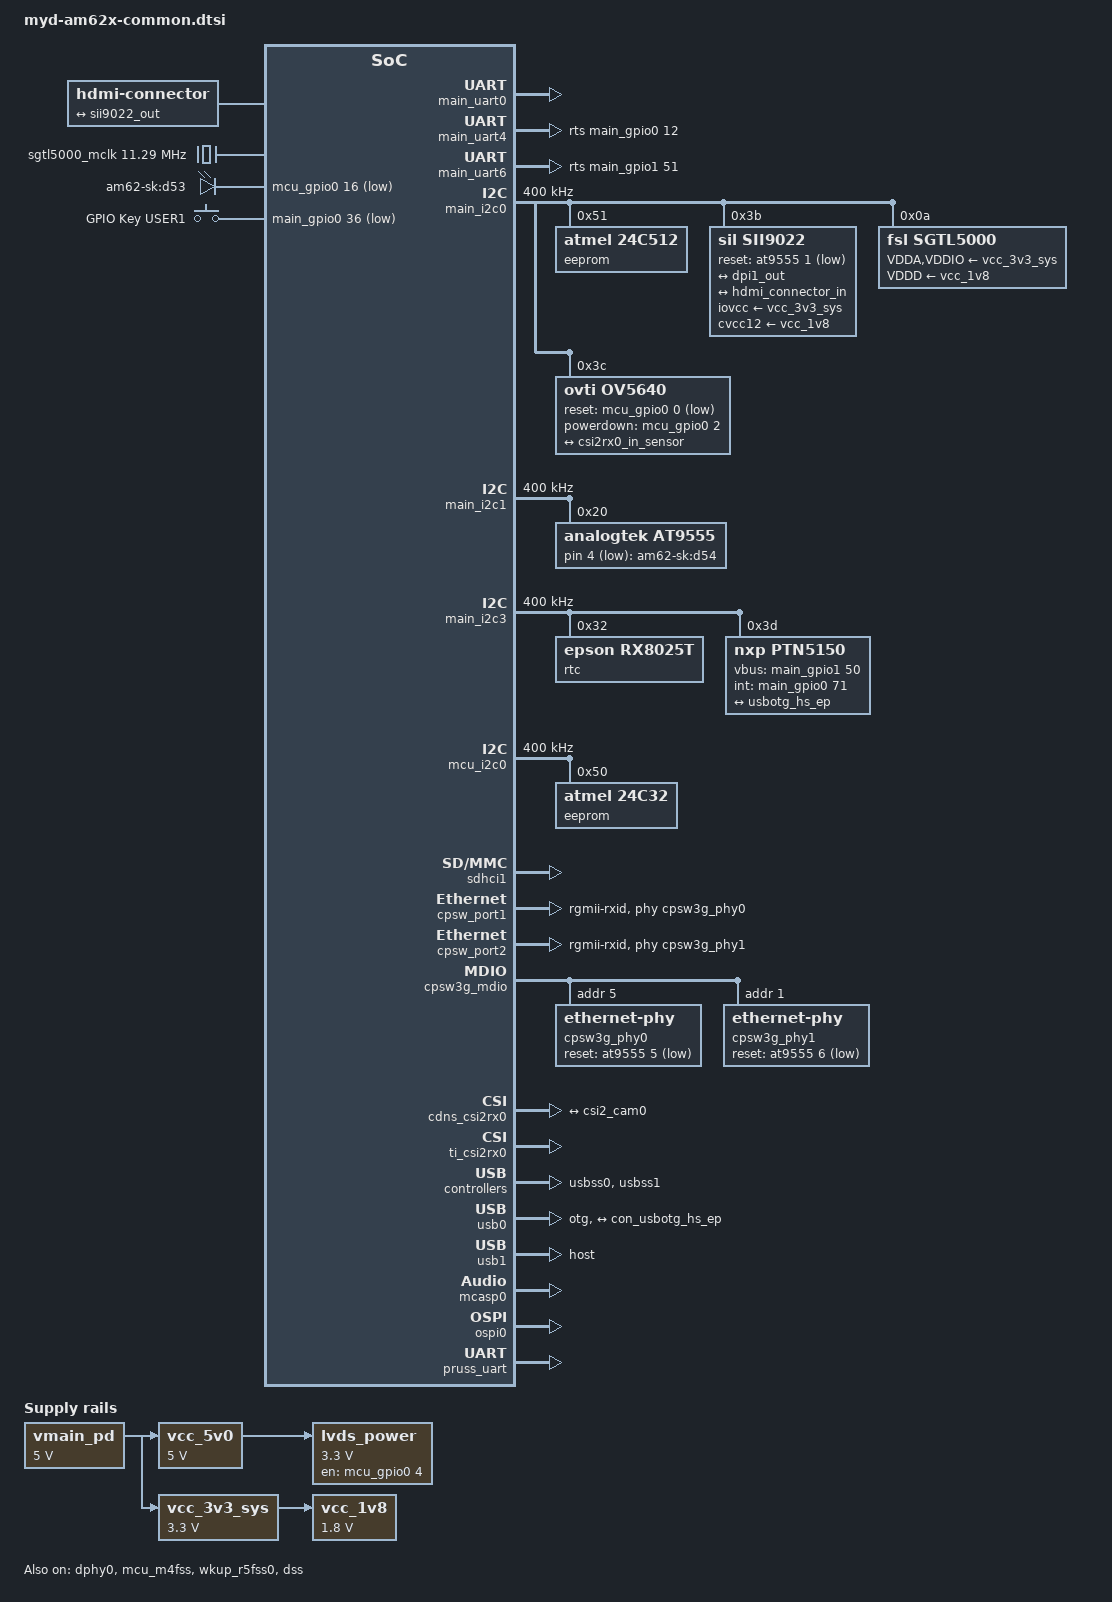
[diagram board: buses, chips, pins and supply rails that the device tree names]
// SPDX-License-Identifier: GPL-2.0-only OR MIT
/*
 * Common dtsi for AM62x SK and derivatives
 *
 * Copyright (C) 2021-2024 Texas Instruments Incorporated - https://www.ti.com/
 */

#include <dt-bindings/leds/common.h>
#include <dt-bindings/gpio/gpio.h>
#include <dt-bindings/net/ti-dp83867.h>
#include <dt-bindings/input/input.h>

/ {
	aliases {
		serial0 = &wkup_uart0;
		serial1 = &mcu_uart0;
		serial2 = &main_uart0;
		serial3 = &main_uart4;
		serial4 = &main_uart6;
		mmc0 = &sdhci0;
		mmc1 = &sdhci1;
		mmc2 = &sdhci2;
		spi0 = &ospi0;
		ethernet0 = &cpsw_port1;
		ethernet1 = &cpsw_port2;
		usb0 = &usb0;
		usb1 = &usb1;
	};

	chosen {
		#address-cells = <2>;
		#size-cells = <2>;
		ranges;

		stdout-path = "serial2:115200n8";

		framebuffer0: framebuffer@0 {
			compatible = "simple-framebuffer";
			power-domains = <&k3_pds 186 TI_SCI_PD_EXCLUSIVE>;
			clocks = <&k3_clks 186 6>,
				 <&dss_vp1_clk>,
				 <&k3_clks 186 2>;
			display = <&dss>;
			status = "disabled";
		};
	};

	reserved-memory {
		#address-cells = <2>;
		#size-cells = <2>;
		ranges;

		ramoops@9c700000 {
			compatible = "ramoops";
			reg = <0x00 0x9c700000 0x00 0x00100000>;
			record-size = <0x8000>;
			console-size = <0x8000>;
			ftrace-size = <0x00>;
			pmsg-size = <0x8000>;
		};

		/* global cma region */
		linux,cma {
			compatible = "shared-dma-pool";
			reusable;
			size = <0x00 0x8000000>;
			linux,cma-default;
		};

		rtos_ipc_memory_region: ipc-memories@9c800000 {
			compatible = "shared-dma-pool";
			reg = <0x00 0x9c800000 0x00 0x00300000>;
			no-map;
		};

		mcu_m4fss_dma_memory_region: m4f-dma-memory@9cb00000 {
			compatible = "shared-dma-pool";
			reg = <0x00 0x9cb00000 0x00 0x100000>;
			no-map;
		};

		mcu_m4fss_memory_region: m4f-memory@9cc00000 {
			compatible = "shared-dma-pool";
			reg = <0x00 0x9cc00000 0x00 0xe00000>;
			no-map;
		};

		wkup_r5fss0_core0_dma_memory_region: r5f-dma-memory@9da00000 {
			compatible = "shared-dma-pool";
			reg = <0x00 0x9da00000 0x00 0x100000>;
			no-map;
		};

		wkup_r5fss0_core0_memory_region: r5f-memory@9db00000 {
			compatible = "shared-dma-pool";
			reg = <0x00 0x9db00000 0x00 0xc00000>;
			no-map;
		};

		secure_tfa_ddr: tfa@9e780000 {
			reg = <0x00 0x9e780000 0x00 0x80000>;
			alignment = <0x1000>;
			no-map;
		};

		secure_ddr: optee@9e800000 {
			reg = <0x00 0x9e800000 0x00 0x01800000>; /* for OP-TEE */
			alignment = <0x1000>;
			no-map;
		};

	};
	        lvds_power: regulator-6 {
                compatible = "regulator-fixed";
                regulator-name = "lvds_power";
                regulator-min-microvolt = <3300000>;
                regulator-max-microvolt = <3300000>;
                enable-active-high;
                regulator-always-on;
                regulator-boot-on;
                vin-supply = <&vcc_5v0>;
                pinctrl-names = "default";
                pinctrl-1 = <&mcu_lvds_power_pins_default>;
                gpios = <&mcu_gpio0 4 GPIO_ACTIVE_HIGH>;
        };

	vmain_pd: regulator-0 {
		/* TPS65988 PD CONTROLLER OUTPUT */
		compatible = "regulator-fixed";
		regulator-name = "vmain_pd";
		regulator-min-microvolt = <5000000>;
		regulator-max-microvolt = <5000000>;
		regulator-always-on;
		regulator-boot-on;
	};

	vcc_5v0: regulator-1 {
		/* Output of LM34936 */
		compatible = "regulator-fixed";
		regulator-name = "vcc_5v0";
		regulator-min-microvolt = <5000000>;
		regulator-max-microvolt = <5000000>;
		vin-supply = <&vmain_pd>;
		regulator-always-on;
		regulator-boot-on;
	};

	vcc_3v3_sys: regulator-2 {
		/* output of LM61460-Q1 */
		compatible = "regulator-fixed";
		regulator-name = "vcc_3v3_sys";
		regulator-min-microvolt = <3300000>;
		regulator-max-microvolt = <3300000>;
		vin-supply = <&vmain_pd>;
		regulator-always-on;
		regulator-boot-on;
	};
	 vcc_1v8: regulator-5 {
                compatible = "regulator-fixed";
                regulator-name = "vcc_1v8";
                regulator-min-microvolt = <1800000>;
                regulator-max-microvolt = <1800000>;
                vin-supply = <&vcc_3v3_sys>;
                regulator-always-on;
                regulator-boot-on;
        };
	

	  hdmi: connector {
                compatible = "hdmi-connector";
                label = "hdmi";
                type = "a";
                port {
                        hdmi_connector_in: endpoint {
                                remote-endpoint = <&sii9022_out>;
                        };
                };
        };
	
        sgtl5000_mclk: sgtl5000-mclk {
                compatible = "fixed-clock";
                #clock-cells = <0>;
                clock-frequency = <11289600>;
        };
	
        clk_ov5640_fixed: ov5640-xclk {
                compatible = "fixed-clock";
                #clock-cells = <0>;
                clock-frequency = <24000000>;
        };
	
	codec_audio: sound {
                compatible = "simple-audio-card";
                simple-audio-card,name = "AM62x-SKEVM";
                simple-audio-card,widgets =
                                "Microphone", "Microphone Jack",
                                "Headphone", "Headphone Jack",
                                "Speaker", "Speaker Ext",
                                "Line", "Line In Jack";
                simple-audio-card,routing =
                                "MIC_IN", "Microphone Jack",
                                "Microphone Jack", "Mic Bias",
                                "LINE_IN", "Line In Jack",
                                "Headphone Jack", "HP_OUT",
                                "Speaker Ext", "LINE_OUT";
                simple-audio-card,format = "i2s";
                simple-audio-card,mclk-fs = <256>;
                simple-audio-card,bitclock-master = <&sound_master>;
                simple-audio-card,frame-master = <&sound_master>;
                simple-audio-card,bitclock-inversion;

                simple-audio-card,cpu {
                        sound-dai = <&mcasp0>;
                };

                sound_master: simple-audio-card,codec {
                        sound-dai = <&sgtl5000>;
                        clocks = <&sgtl5000_mclk>;
                };
        };

	leds {
                compatible = "gpio-leds";

                led-user {
                        label = "am62-sk:d54";
                        gpios = <&at9555 4 GPIO_ACTIVE_LOW>;
                        max-brightness = <255>;
                        linux,default-trigger = "heartbeat";
                        function = LED_FUNCTION_HEARTBEAT;
                        default-state = "off";
                };

                led-sys {
                        label = "am62-sk:d53";
                        pinctrl-names = "default";
                        pinctrl-1 = <&mcu_run_led_pins_default>;
                        gpios = <&mcu_gpio0 16 GPIO_ACTIVE_LOW>;
                        linux,default-trigger = "heartbeat";
                        function = LED_FUNCTION_HEARTBEAT;
                        default-state = "on";
                };
        };

        gpio-keys {
                compatible = "gpio-keys";
                autorepeat;
                pinctrl-names = "default";
                pinctrl-0 = <&main_user_key_pins_default>;

                user: user {
                        label = "GPIO Key USER1";
                        linux,code = <BTN_0>;
                        gpios = <&main_gpio0 36 GPIO_ACTIVE_LOW>;
                };
        };

};

&phy_gmii_sel {
	bootph-all;
};

&main_pmx0 {
	 main_ptn5150_vbus_pins_default: main-ptn5150-vbus-pins-default {
                pinctrl-single,pins = <
                        AM62X_IOPAD(0x254, PIN_OUTPUT, 7) /* (C20) USB0_DRVVBUS.GPIO1_50 */
                        AM62X_IOPAD(0x124, PIN_INPUT, 7) /* (A23) MMC2_SDCD.GPIO0_71 */

                >;
        };
        main_uart4_pins_default: main-uart4-pins-default {
                pinctrl-single,pins = <
                        AM62X_IOPAD(0x00b0, PIN_INPUT, 3) /* (K22) GPMC0_CSn2.UART4_RXD */
                        AM62X_IOPAD(0x00b4, PIN_OUTPUT, 3) /* (K24) GPMC0_CSn3.UART4_TXD */
                >;
        };

        main_uart4_rst_pins_default: main-uart4-rst-pins-default {
                pinctrl-single,pins = <
                        AM62X_IOPAD(0x0030, PIN_INPUT, 7) /* (G21) OSPI0_CSn1.GPIO0_12 */
                >;
        };

        main_uart6_pins_default: main-uart6-pins-default {
                pinctrl-single,pins = <
                        AM62X_IOPAD(0x009c, PIN_INPUT, 3) /* (V25) GPMC0_WAIT1.UART6_RXD */
                        AM62X_IOPAD(0x00a0, PIN_OUTPUT, 3) /* (K25) GPMC0_WPn.UART6_TXD */
                >;
        };

        main_uart6_rst_pins_default: main-uart6-rst-pins-default {
                pinctrl-single,pins = <
                        AM62X_IOPAD(0x0258, PIN_INPUT, 7) /* (F18) USB1_DRVVBUS.GPIO1_51 */
                >;
        };
        main_i2c3_pins_default: main-i2c3-pins-default {
                pinctrl-single,pins = <
                        AM62X_IOPAD(0x1d0, PIN_INPUT_PULLUP, 2) /* (A15) UART0_CTSn.I2C3_SCL */
                        AM62X_IOPAD(0x1d4, PIN_INPUT_PULLUP, 2) /* (B15) UART0_RTSn.I2C3_SDA */
                >;
        };
	
        main_user_key_pins_default: main-user-key-pins-default {
                pinctrl-single,pins = <
                        AM62X_IOPAD(0x0094, PIN_INPUT, 7) /* (N20) GPMC0_BE1n.GPIO0_36 */
                >;
        };

	/* First pad number is ALW package and second is AMC package */
	main_uart0_pins_default: main-uart0-default-pins {
		bootph-all;
		pinctrl-single,pins = <
			AM62X_IOPAD(0x1c8, PIN_INPUT, 0) /* (D14/A13) UART0_RXD */
			AM62X_IOPAD(0x1cc, PIN_OUTPUT, 0) /* (E14/E11) UART0_TXD */
		>;
	};

	main_uart1_pins_default: main-uart1-default-pins {
		bootph-pre-ram;
		pinctrl-single,pins = <
			AM62X_IOPAD(0x194, PIN_INPUT, 2) /* (B19/B18) MCASP0_AXR3.UART1_CTSn */
			AM62X_IOPAD(0x198, PIN_OUTPUT, 2) /* (A19/B17) MCASP0_AXR2.UART1_RTSn */
			AM62X_IOPAD(0x1ac, PIN_INPUT, 2) /* (E19/D15) MCASP0_AFSR.UART1_RXD */
			AM62X_IOPAD(0x1b0, PIN_OUTPUT, 2) /* (A20/D16) MCASP0_ACLKR.UART1_TXD */
		>;
	};

	main_i2c0_pins_default: main-i2c0-default-pins {
		pinctrl-single,pins = <
			AM62X_IOPAD(0x1e0, PIN_INPUT_PULLUP, 0) /* (B16/E12) I2C0_SCL */
			AM62X_IOPAD(0x1e4, PIN_INPUT_PULLUP, 0) /* (A16/D14) I2C0_SDA */
		>;
	};

	main_i2c1_pins_default: main-i2c1-default-pins {
		bootph-all;
		pinctrl-single,pins = <
			AM62X_IOPAD(0x1e8, PIN_INPUT_PULLUP, 0) /* (B17/A17) I2C1_SCL */
			AM62X_IOPAD(0x1ec, PIN_INPUT_PULLUP, 0) /* (A17/A16) I2C1_SDA */
		>;
	};


	main_mmc1_pins_default: main-mmc1-default-pins {
		bootph-all;
		pinctrl-single,pins = <
			AM62X_IOPAD(0x23c, PIN_INPUT, 0) /* (A21/C18) MMC1_CMD */
			AM62X_IOPAD(0x234, PIN_INPUT, 0) /* (B22/A20) MMC1_CLK */
			AM62X_IOPAD(0x230, PIN_INPUT, 0) /* (A22/A19) MMC1_DAT0 */
			AM62X_IOPAD(0x22c, PIN_INPUT, 0) /* (B21/B19) MMC1_DAT1 */
			AM62X_IOPAD(0x228, PIN_INPUT, 0) /* (C21/B20) MMC1_DAT2 */
			AM62X_IOPAD(0x224, PIN_INPUT, 0) /* (D22/C19) MMC1_DAT3 */
			AM62X_IOPAD(0x240, PIN_INPUT, 0) /* (D17/C15) MMC1_SDCD */
		>;
	};

	usr_led_pins_default: usr-led-default-pins {
		pinctrl-single,pins = <
			AM62X_IOPAD(0x244, PIN_OUTPUT, 7) /* (C17/B15) MMC1_SDWP.GPIO1_49 */
		>;
	};

	main_mdio1_pins_default: main-mdio1-default-pins {
		pinctrl-single,pins = <
			AM62X_IOPAD(0x160, PIN_OUTPUT, 0) /* (AD24/V17) MDIO0_MDC */
			AM62X_IOPAD(0x15c, PIN_INPUT, 0) /* (AB22/U16) MDIO0_MDIO */
		>;
	};

	main_rgmii1_pins_default: main-rgmii1-default-pins {
		bootph-all;
		pinctrl-single,pins = <
			AM62X_IOPAD(0x14c, PIN_INPUT, 0) /* (AB17/W15) RGMII1_RD0 */
			AM62X_IOPAD(0x150, PIN_INPUT, 0) /* (AC17/Y16) RGMII1_RD1 */
			AM62X_IOPAD(0x154, PIN_INPUT, 0) /* (AB16/AA17) RGMII1_RD2 */
			AM62X_IOPAD(0x158, PIN_INPUT, 0) /* (AA15/Y15) RGMII1_RD3 */
			AM62X_IOPAD(0x148, PIN_INPUT, 0) /* (AD17/AA16) RGMII1_RXC */
			AM62X_IOPAD(0x144, PIN_INPUT, 0) /* (AE17/W14) RGMII1_RX_CTL */
			AM62X_IOPAD(0x134, PIN_OUTPUT, 0) /* (AE20/U14) RGMII1_TD0 */
			AM62X_IOPAD(0x138, PIN_OUTPUT, 0) /* (AD20/AA19) RGMII1_TD1 */
			AM62X_IOPAD(0x13c, PIN_OUTPUT, 0) /* (AE18/Y17) RGMII1_TD2 */
			AM62X_IOPAD(0x140, PIN_OUTPUT, 0) /* (AD18/AA18) RGMII1_TD3 */
			AM62X_IOPAD(0x130, PIN_OUTPUT, 0) /* (AE19/W16) RGMII1_TXC */
			AM62X_IOPAD(0x12c, PIN_OUTPUT, 0) /* (AD19/V15) RGMII1_TX_CTL */
		>;
	};
        main_mcasp0_pins_default: main-mcasp0-pins-default {
                pinctrl-single,pins = <
                        AM62X_IOPAD(0x01a4, PIN_INPUT, 0) /* (B20) MCASP0_ACLKX.MCASP0_ACLKX */
                        AM62X_IOPAD(0x01a8, PIN_INPUT, 0) /* (D20) MCASP0_AFSX.MCASP0_AFSX */
                        AM62X_IOPAD(0x01a0, PIN_OUTPUT, 0) /* (E18) MCASP0_AXR0.MCASP0_AXR0 */
                        AM62X_IOPAD(0x019c, PIN_INPUT, 0) /* (B18) MCASP0_AXR1.MCASP0_AXR1 */   
                >;
        };

	main_mcasp1_pins_default: main-mcasp1-default-pins {
		pinctrl-single,pins = <
			AM62X_IOPAD(0x090, PIN_INPUT, 2) /* (M24/K17) GPMC0_BE0N_CLE.MCASP1_ACLKX */
			AM62X_IOPAD(0x098, PIN_INPUT, 2) /* (U23/P21) GPMC0_WAIT0.MCASP1_AFSX */
			AM62X_IOPAD(0x08c, PIN_OUTPUT, 2) /* (L25/J17) GPMC0_WEN.MCASP1_AXR0 */
			AM62X_IOPAD(0x084, PIN_INPUT, 2) /* (L23/K20) GPMC0_ADVN_ALE.MCASP1_AXR2 */
		>;
	};

	main_dss0_pins_default: main-dss0-default-pins {
		pinctrl-single,pins = <
			AM62X_IOPAD(0x100, PIN_OUTPUT, 0) /* (AC25) VOUT0_VSYNC */
			AM62X_IOPAD(0x0f8, PIN_OUTPUT, 0) /* (AB24) VOUT0_HSYNC */
			AM62X_IOPAD(0x104, PIN_OUTPUT, 0) /* (AC24) VOUT0_PCLK */
			AM62X_IOPAD(0x0fc, PIN_OUTPUT, 0) /* (Y20) VOUT0_DE */
			AM62X_IOPAD(0x0b8, PIN_OUTPUT, 0) /* (U22) VOUT0_DATA0 */
			AM62X_IOPAD(0x0bc, PIN_OUTPUT, 0) /* (V24) VOUT0_DATA1 */
			AM62X_IOPAD(0x0c0, PIN_OUTPUT, 0) /* (W25) VOUT0_DATA2 */
			AM62X_IOPAD(0x0c4, PIN_OUTPUT, 0) /* (W24) VOUT0_DATA3 */
			AM62X_IOPAD(0x0c8, PIN_OUTPUT, 0) /* (Y25) VOUT0_DATA4 */
			AM62X_IOPAD(0x0cc, PIN_OUTPUT, 0) /* (Y24) VOUT0_DATA5 */
			AM62X_IOPAD(0x0d0, PIN_OUTPUT, 0) /* (Y23) VOUT0_DATA6 */
			AM62X_IOPAD(0x0d4, PIN_OUTPUT, 0) /* (AA25) VOUT0_DATA7 */
			AM62X_IOPAD(0x0d8, PIN_OUTPUT, 0) /* (V21) VOUT0_DATA8 */
			AM62X_IOPAD(0x0dc, PIN_OUTPUT, 0) /* (W21) VOUT0_DATA9 */
			AM62X_IOPAD(0x0e0, PIN_OUTPUT, 0) /* (V20) VOUT0_DATA10 */
			AM62X_IOPAD(0x0e4, PIN_OUTPUT, 0) /* (AA23) VOUT0_DATA11 */
			AM62X_IOPAD(0x0e8, PIN_OUTPUT, 0) /* (AB25) VOUT0_DATA12 */
			AM62X_IOPAD(0x0ec, PIN_OUTPUT, 0) /* (AA24) VOUT0_DATA13 */
			AM62X_IOPAD(0x0f0, PIN_OUTPUT, 0) /* (Y22) VOUT0_DATA14 */
			AM62X_IOPAD(0x0f4, PIN_OUTPUT, 0) /* (AA21) VOUT0_DATA15 */
			AM62X_IOPAD(0x05c, PIN_OUTPUT, 1) /* (R24) GPMC0_AD8.VOUT0_DATA16 */
			AM62X_IOPAD(0x060, PIN_OUTPUT, 1) /* (R25) GPMC0_AD9.VOUT0_DATA17 */
			AM62X_IOPAD(0x064, PIN_OUTPUT, 1) /* (T25) GPMC0_AD10.VOUT0_DATA18 */
			AM62X_IOPAD(0x068, PIN_OUTPUT, 1) /* (R21) GPMC0_AD11.VOUT0_DATA19 */
			AM62X_IOPAD(0x06c, PIN_OUTPUT, 1) /* (T22) GPMC0_AD12.VOUT0_DATA20 */
			AM62X_IOPAD(0x070, PIN_OUTPUT, 1) /* (T24) GPMC0_AD13.VOUT0_DATA21 */
			AM62X_IOPAD(0x074, PIN_OUTPUT, 1) /* (U25) GPMC0_AD14.VOUT0_DATA22 */
			AM62X_IOPAD(0x078, PIN_OUTPUT, 1) /* (U24) GPMC0_AD15.VOUT0_DATA23 */
		>;
	};

	ospi0_pins_default: ospi0-default-pins {
		bootph-all;
		pinctrl-single,pins = <
			AM62X_IOPAD(0x000, PIN_OUTPUT, 0) /* (H24/G19) OSPI0_CLK */
			AM62X_IOPAD(0x02c, PIN_OUTPUT, 0) /* (F23/F19) OSPI0_CSn0 */
			AM62X_IOPAD(0x00c, PIN_INPUT, 0) /* (E25/F18) OSPI0_D0 */
			AM62X_IOPAD(0x010, PIN_INPUT, 0) /* (G24/G17) OSPI0_D1 */
			AM62X_IOPAD(0x014, PIN_INPUT, 0) /* (F25/F21) OSPI0_D2 */
			AM62X_IOPAD(0x018, PIN_INPUT, 0) /* (F24/F20) OSPI0_D3 */
			AM62X_IOPAD(0x01c, PIN_INPUT, 0) /* (J23/G21) OSPI0_D4 */
			AM62X_IOPAD(0x020, PIN_INPUT, 0) /* (J25/H21) OSPI0_D5 */
			AM62X_IOPAD(0x024, PIN_INPUT, 0) /* (H25/G20) OSPI0_D6 */
			AM62X_IOPAD(0x028, PIN_INPUT, 0) /* (J22/J21) OSPI0_D7 */
			AM62X_IOPAD(0x008, PIN_INPUT, 0) /* (J24/H20) OSPI0_DQS */
		>;
	};

	pruss_uart_pins: pruss-uart-pins {
		pinctrl-single,pins = <
			AM62X_IOPAD(0x01d8, PIN_INPUT, 6) /* (C15) MCAN0_TX.PR0_UART0_RXD */
			AM62X_IOPAD(0x01dc, PIN_OUTPUT, 6) /* (E15) MCAN0_RX.PR0_UART0_TXD */
		>;
	};
};

&mcu_pmx0 {
        mcu_lvds_power_pins_default: mcu-lvds-power-pins-default {
                pinctrl-single,pins = <
                        AM62X_MCU_IOPAD(0x0010, PIN_OUTPUT_PULLUP, 7) /* (C9) MCU_SPI0_D1.MCU_GPIO0_4 */
                >;
        };
	 mcu_i2c0_pins_default: mcu-i2c0-pins-default {
                pinctrl-single,pins = <
                        AM62X_MCU_IOPAD(0x0044, PIN_INPUT, 0) /* (A8) MCU_I2C0_SCL */
                        AM62X_MCU_IOPAD(0x0048, PIN_INPUT, 0) /* (D10) MCU_I2C0_SDA */
                >;
        };
	
        mcu_run_led_pins_default: mymcugpio1-pins-default {
                pinctrl-single,pins = <
                        AM62X_MCU_IOPAD(0x0040, PIN_INPUT, 7) /* (D4) MCU_MCAN1_RX.MCU_GPIO0_16 */
                >;
        };	
	wkup_uart0_pins_default: wkup-uart0-default-pins {
		bootph-pre-ram;
		pinctrl-single,pins = <
			AM62X_MCU_IOPAD(0x02c, PIN_INPUT, 0) /* (C6/A7) WKUP_UART0_CTSn */
			AM62X_MCU_IOPAD(0x030, PIN_OUTPUT, 0) /* (A4/B4) WKUP_UART0_RTSn */
			AM62X_MCU_IOPAD(0x024, PIN_INPUT, 0) /* (B4/B5) WKUP_UART0_RXD */
			AM62X_MCU_IOPAD(0x028, PIN_OUTPUT, 0) /* (C5/C6) WKUP_UART0_TXD */
		>;
	};

	mcu_ov5640_gpio_pins_default: mcu-ov5640-gpio-pins-default {
                pinctrl-single,pins = <
                        AM62X_MCU_IOPAD(0x0000, PIN_OUTPUT, 7) /* (E8) MCU_SPI0_CS0.MCU_GPIO0_0  RST */
                        AM62X_MCU_IOPAD(0x0008, PIN_OUTPUT, 7) /* (A7) MCU_SPI0_CLK.MCU_GPIO0_2  PWR */
                >;
        };
};

&cpsw_mac_syscon {
	bootph-all;
};

&wkup_uart0 {
	/* WKUP UART0 is used by DM firmware */
	bootph-pre-ram;
	status = "reserved";
	pinctrl-names = "default";
	pinctrl-0 = <&wkup_uart0_pins_default>;
};

&main_uart0 {
	bootph-all;
	status = "okay";
	pinctrl-names = "default";
	pinctrl-0 = <&main_uart0_pins_default>;
	interrupts-extended = <&gic500 GIC_SPI 178 IRQ_TYPE_LEVEL_HIGH>,
			       <&main_pmx0 0x1c8>; /* (D14) UART0_RXD PADCONFIG114 */
	interrupt-names = "irq", "wakeup";
};

&main_uart1 {
	/* Main UART1 is used by TIFS firmware */
	bootph-pre-ram;
	status = "reserved";
	pinctrl-names = "default";
	pinctrl-0 = <&main_uart1_pins_default>;
};

&main_uart4 {
        pinctrl-names = "default";
        pinctrl-0 = <&main_uart4_pins_default &main_uart4_rst_pins_default>;
  	rts-gpios = <&main_gpio0 12 GPIO_ACTIVE_HIGH>;
        rs485-rx-during-tx;
        rs485-rts-delay = <1 1>;
        linux,rs485-enabled-at-boot-time;
        status = "okay";

};

&main_uart6 {
        pinctrl-names = "default";
        pinctrl-0 = <&main_uart6_pins_default &main_uart6_rst_pins_default>;
        rts-gpios = <&main_gpio1 51 GPIO_ACTIVE_HIGH>;
        rs485-rx-during-tx;
        rs485-rts-delay = <1 1>;
        linux,rs485-enabled-at-boot-time;
        status = "okay";
};

&main_i2c0 {
	status = "okay";
	pinctrl-names = "default";
	pinctrl-0 = <&main_i2c0_pins_default>;
	clock-frequency = <400000>;

	eeprom@51 {
		/* AT24C512C-MAHM-T or M24512-DFMC6TG */
		compatible = "atmel,24c512";
		reg = <0x51>;
	};

	sii9022: sii9022@3b {
                #sound-dai-cells = <0>;
                compatible = "sil,sii9022";
                reg = <0x3b>;
                status = "okay";
                iovcc-supply = <&vcc_3v3_sys>;
                cvcc12-supply = <&vcc_1v8>;

                reset-gpios = <&at9555 1 GPIO_ACTIVE_LOW>;



                sil,i2s-data-lanes = < 0 >;

                ports {
                        #address-cells = <1>;
                        #size-cells = <0>;

                        port@0 {
                                reg = <0>;

                                sii9022_in: endpoint {
                                        remote-endpoint = <&dpi1_out>;
                                };
                        };

                        port@1 {
                                reg = <1>;

                                sii9022_out: endpoint {
                                        remote-endpoint = <&hdmi_connector_in>;
                                };
                        };
                };
        };

	    sgtl5000: audio-codec@a {
                compatible = "fsl,sgtl5000";
                status = "okay";
                reg = <0xa>;
                #sound-dai-cells = <0>;
                clocks = <&sgtl5000_mclk>;
                // micbias-resistor-k-ohms = <2>;
                // micbias-voltage-m-volts = <2250>;
                VDDA-supply = <&vcc_3v3_sys>;
                VDDIO-supply = <&vcc_3v3_sys>;
                VDDD-supply = <&vcc_1v8>;
        };
	ov5640: camera@3c {
                compatible = "ovti,ov5640";
                reg = <0x3c>;
                status = "okay";
                clocks = <&clk_ov5640_fixed>;
                clock-names = "xclk";
                pinctrl-names ="default";
                pinctrl-0=<&mcu_ov5640_gpio_pins_default>;
                reset-gpios = <&mcu_gpio0 0 GPIO_ACTIVE_LOW>;
                powerdown-gpios = <&mcu_gpio0 2 GPIO_ACTIVE_HIGH>;


                port {
                        csi2_cam0: endpoint {
                                remote-endpoint = <&csi2rx0_in_sensor>;
                                clock-lanes = <0>;
                                data-lanes = <1 2>;
                        };
                };
        };

};

&main_i2c1 {
	status = "okay";
	pinctrl-names = "default";
	pinctrl-0 = <&main_i2c1_pins_default>;
	clock-frequency = <400000>;
	at9555: at9555@20 {
                compatible = "analogtek,at9555";
                reg = <0x20>;
                #gpio-cells = <2>;
                gpio_base = <530>;
                interrupt-controller;
                #interrupt-cells = <2>;
                status = "okay";
        };
	
};


&main_i2c2 {
	status = "disabled";
	clock-frequency = <400000>;
};


&main_i2c3 {
        pinctrl-names = "default";
        pinctrl-0 = <&main_i2c3_pins_default>;
        clock-frequency = <400000>;
        status = "okay";
	rtc: rtc@32 {
		compatible = "epson,rx8025t";
		reg = <0x32>;
		tatus = "okay";
    };
	ptn5150: ptn5150@3d {
                compatible = "nxp,ptn5150";
                reg = <0x3d>;
                pinctrl-names = "default";
                pinctrl-0 = <&main_ptn5150_vbus_pins_default>;
                vbus-gpios = <&main_gpio1 50 GPIO_ACTIVE_HIGH>;
                int-gpios = <&main_gpio0 71 IRQ_TYPE_EDGE_FALLING>;
                status = "okay";

                connector {
                        compatible = "usb-c-connector";
                        label = "USB-C";
                        port {
                                con_usbotg_hs_ep: endpoint {
                                        remote-endpoint = <&usbotg_hs_ep>;
                                };
                        };
                };
        };

};

&mcu_i2c0 {
        pinctrl-names = "default";
        pinctrl-0 = <&mcu_i2c0_pins_default>;
        clock-frequency = <400000>;
        status = "okay";

        eeprom: 24c32@50 {
                compatible = "atmel,24c32";
                reg = <0x50>;
                pagesize = <32>;
        };
};

&sdhci1 {
	/* SD/MMC */
	bootph-all;
	status = "okay";
	pinctrl-names = "default";
	pinctrl-0 = <&main_mmc1_pins_default>;
	disable-wp;
};

&cpsw3g {
	bootph-all;
	pinctrl-names = "default";
	pinctrl-0 = <&main_rgmii1_pins_default>;
};

&cpsw_port1 {
	bootph-all;
	status = "okay";
	phy-mode = "rgmii-rxid";
	phy-handle = <&cpsw3g_phy0>;
};

&cpsw_port2 {
	bootph-all;
        phy-mode = "rgmii-rxid";
        phy-handle = <&cpsw3g_phy1>;
        status = "okay";
};

&cpsw3g_mdio {
	bootph-all;
	status = "okay";
	pinctrl-names = "default";
	pinctrl-0 = <&main_mdio1_pins_default>;

	cpsw3g_phy0: ethernet-phy@0 {
                reg = <5>;
                reset-gpios = <&at9555 5 GPIO_ACTIVE_LOW>;
                reset-assert-us = <10000>;
                reset-deassert-us = <20000>;
        };

        cpsw3g_phy1: ethernet-phy@1 {
                reg = <1>;
                reset-gpios = <&at9555 6 GPIO_ACTIVE_LOW>;
                reset-assert-us = <10000>;
                reset-deassert-us = <20000>;
        };
};

&cdns_csi2rx0 {
	ports {
		#address-cells = <1>;
		#size-cells = <0>;

		csi0_port0: port@0 {
			reg = <0>;
			status = "okay";

			csi2rx0_in_sensor: endpoint {
				remote-endpoint = <&csi2_cam0>;
				//bus-type = <4>; /* CSI2 DPHY. */
				clock-lanes = <0>;
				data-lanes = <1 2>;
			};
		};
	};
};


&dphy0 {
	status = "okay";
};

&ti_csi2rx0 {
        status = "okay";
};

&mailbox0_cluster0 {
	mbox_m4_0: mbox-m4-0 {
		ti,mbox-rx = <0 0 0>;
		ti,mbox-tx = <1 0 0>;
	};

	mbox_r5_0: mbox-r5-0 {
		ti,mbox-rx = <2 0 0>;
		ti,mbox-tx = <3 0 0>;
	};
};

&mcu_m4fss {
	mboxes = <&mailbox0_cluster0 &mbox_m4_0>;
	memory-region = <&mcu_m4fss_dma_memory_region>,
			<&mcu_m4fss_memory_region>;
	status = "okay";
};

&wkup_r5fss0 {
	status = "okay";
};

&wkup_r5fss0_core0 {
	mboxes = <&mailbox0_cluster0 &mbox_r5_0>;
	memory-region = <&wkup_r5fss0_core0_dma_memory_region>,
			<&wkup_r5fss0_core0_memory_region>;
};


&usbss0 {
	bootph-all;
	status = "okay";
	ti,vbus-divider;
};

&usbss1 {
	status = "okay";
	ti,vbus-divider;
};

&usb0 {
	bootph-all;
	usb-role-switch;
	address-cells = <1>;
        #size-cells = <0>;
        usb-role-switch;
        dr_mode = "otg";
        role-switch-default-mode = "host";
        status = "okay";

        port@0 {
                reg = <0>;
                usbotg_hs_ep: endpoint {
                        remote-endpoint = <&con_usbotg_hs_ep>;
                };
        };

};

&usb1 {
	status = "okay";
	dr_mode = "host";
	pinctrl-names = "default";
};

&mcasp0 {
        status = "okay";
        #sound-dai-cells = <0>;
        pinctrl-names = "default";
        pinctrl-0 = <&main_mcasp0_pins_default>;

        op-mode = <0>;          /* MCASP_IIS_MODE */
        tdm-slots = <2>;
        /* 16 serializers */
        serial-dir = <  /* 0: INACTIVE, 1: TX, 2: RX */
               1 2 0 0
               0 0 0 0
               0 0 0 0
               0 0 0 0
        >;
        tx-num-evt = <32>;
        rx-num-evt = <32>;
};

&mcasp1 {
	status = "disabled";
	#sound-dai-cells = <0>;

	pinctrl-names = "default";
	pinctrl-0 = <&main_mcasp1_pins_default>;

	op-mode = <0>;         
	tdm-slots = <2>;

	serial-dir = <  
	       1 0 2 0
	       0 0 0 0
	       0 0 0 0
	       0 0 0 0
	>;
};

&dss_oldi_io_ctrl {
	bootph-all;
};

&dss {
	bootph-all;
	status = "okay";
	pinctrl-names = "default";
	pinctrl-0 = <&main_dss0_pins_default>;
};

&dss_ports {
	
	hdmi0_dss: port@1 {
		reg = <1>;

		dpi1_out: endpoint {
			remote-endpoint = <&sii9022_in>;
		};
	};
};


/* mcu_gpio0 and mcu_gpio_intr are reserved for mcu firmware usage */
&mcu_gpio0 {
 	pinctrl-names ="default";
        pinctrl-0=< 
		&mcu_lvds_power_pins_default
		&mcu_run_led_pins_default>;
        status = "okay";
};

&mcu_gpio_intr {
	status = "okay";
};

&ospi0 {
	bootph-all;
	status = "okay";
	pinctrl-names = "default";
	pinctrl-0 = <&ospi0_pins_default>;
};

&pruss_uart {
	pinctrl-names = "default";
	pinctrl-0 = <&pruss_uart_pins>;
	status = "okay";
};
